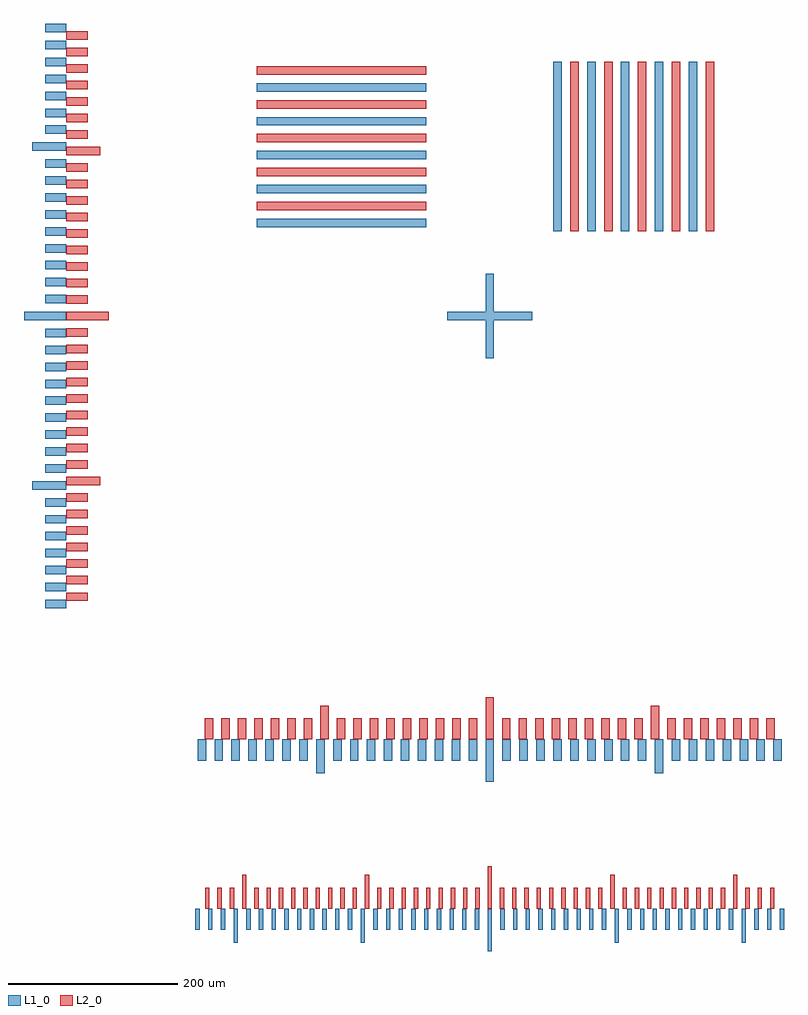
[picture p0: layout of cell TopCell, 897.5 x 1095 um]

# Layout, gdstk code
import gdstk
lib = gdstk.Library(unit=1e-6, precision=1e-09)
def R(c, l, rs):  # rectangles x0, y0, x1, y1
    for r in rs: c.add(gdstk.rectangle(r[:2], r[2:], *l))
def A(c, l, x, y, w, h, nx, ny, dx, dy):  # array of equal rectangles
    R(c, l, [(x+i*dx, y+j*dy, x+i*dx+w, y+j*dy+h) for i in range(nx) for j in range(ny)])
L1_0 = (1, 0)
L2_0 = (2, 0)

topcell = lib.new_cell('TopCell')
A(topcell, L1_0, -347.5, -725, 5, 25, 3, 1, 15, 0)
A(topcell, L1_0, -287.5, -725, 5, 25, 9, 1, 15, 0)
A(topcell, L1_0, -137.5, -725, 5, 25, 9, 1, 15, 0)
A(topcell, L1_0, 12.5, -725, 5, 25, 9, 1, 15, 0)
A(topcell, L1_0, 162.5, -725, 5, 25, 9, 1, 15, 0)
A(topcell, L1_0, 312.5, -725, 5, 25, 3, 1, 15, 0)
A(topcell, L1_0, -345, -525, 10, 25, 7, 1, 20, 0)
A(topcell, L1_0, -185, -525, 10, 25, 9, 1, 20, 0)
A(topcell, L1_0, 15, -525, 10, 25, 9, 1, 20, 0)
A(topcell, L1_0, 215, -525, 10, 25, 7, 1, 20, 0)
A(topcell, L1_0, -525, -345, 25, 10, 1, 7, 0, 20)
A(topcell, L1_0, -525, -185, 25, 10, 1, 9, 0, 20)
A(topcell, L1_0, -525, 15, 25, 10, 1, 9, 0, 20)
A(topcell, L1_0, 75, 100, 10, 200, 5, 1, 40, 0)
A(topcell, L1_0, -275, 105, 200, 10, 1, 5, 0, 40)
A(topcell, L1_0, -525, 215, 25, 10, 1, 7, 0, 20)
R(topcell, L1_0, [(-2.5,-750,2.5,-700), (-302.5,-740,-297.5,-700), (-152.5,-740,-147.5,-700), (147.5,-740,152.5,-700), (297.5,-740,302.5,-700), (-5,-550,5,-500), (-205,-540,-195,-500), (195,-540,205,-500), (-540,-205,-500,-195), (-5,-50,5,50), (-550,-5,-500,5), (-50,-5,50,5), (-540,195,-500,205)])
A(topcell, L2_0, -336, -700, 5, 25, 3, 1, 14.5, 0)
A(topcell, L2_0, -278, -700, 5, 25, 9, 1, 14.5, 0)
A(topcell, L2_0, -133, -700, 5, 25, 9, 1, 14.5, 0)
A(topcell, L2_0, 12, -700, 5, 25, 9, 1, 14.5, 0)
A(topcell, L2_0, 157, -700, 5, 25, 9, 1, 14.5, 0)
A(topcell, L2_0, 302, -700, 5, 25, 3, 1, 14.5, 0)
A(topcell, L2_0, -336.5, -500, 10, 25, 7, 1, 19.5, 0)
A(topcell, L2_0, -180.5, -500, 10, 25, 9, 1, 19.5, 0)
A(topcell, L2_0, 14.5, -500, 10, 25, 9, 1, 19.5, 0)
A(topcell, L2_0, 209.5, -500, 10, 25, 7, 1, 19.5, 0)
A(topcell, L2_0, -500, -336.5, 25, 10, 1, 7, 0, 19.5)
A(topcell, L2_0, -500, -180.5, 25, 10, 1, 9, 0, 19.5)
A(topcell, L2_0, -500, 14.5, 25, 10, 1, 9, 0, 19.5)
A(topcell, L2_0, 95, 100, 10, 200, 5, 1, 40, 0)
A(topcell, L2_0, -275, 125, 200, 10, 1, 5, 0, 40)
A(topcell, L2_0, -500, 209.5, 25, 10, 1, 7, 0, 19.5)
R(topcell, L2_0, [(-292.5,-700,-287.5,-660), (-147.5,-700,-142.5,-660), (-2.5,-700,2.5,-650), (142.5,-700,147.5,-660), (287.5,-700,292.5,-660), (-200,-500,-190,-460), (-5,-500,5,-450), (190,-500,200,-460), (-500,-200,-460,-190), (-500,-5,-450,5), (-500,190,-460,200)])

lib.write_gds('TopCell.gds')
